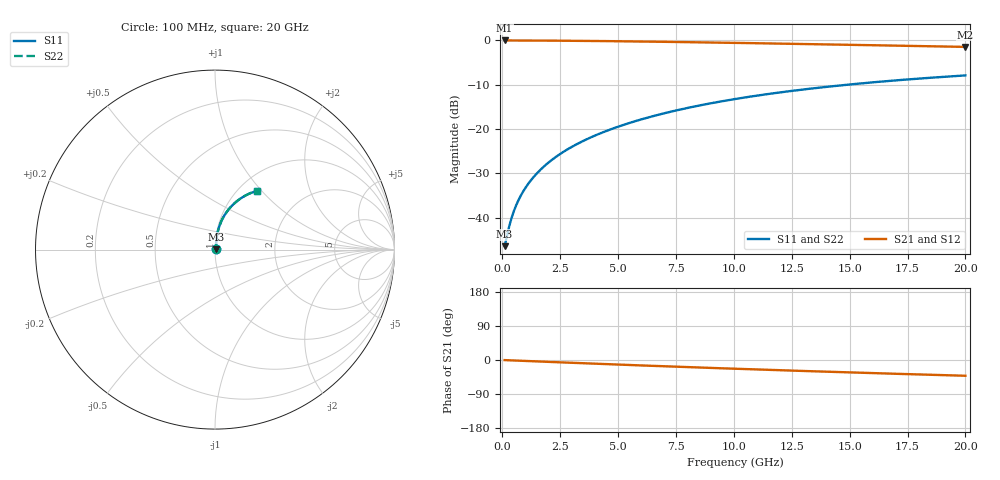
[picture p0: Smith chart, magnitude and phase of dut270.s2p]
! Touchstone file exported from HFSS 2024.1.0
!  File:  C:/UserFiles/LocalFiles/RDL_TSV_Batchsim/temp_RDL_top_270_1778689645.aedt
!  Generated:  12:29:53 AM May 14, 2026
!  Design:  RDL_top
!  Project:  temp_RDL_top_270_1778689645
!  Setup:  Setup1
!  Solution:  Sweep
! Variables:
!  dtsv = 10.80580581um
!  hbump = 3um
!  htsv = 57.62um
!  ldown = 100um
!  lrdl = 571.48um
!  p = 40
!  p1 = 48.34um
!  rhole = 1um
!  t = 450um
!  tdown = 3.915915916um
!  trdl = 2.57um
!  wdown = 15.38538539um
!  wrdl = 19.65um
# GHz S MA R 50.000000
! Terminal data exported
! Port[1] = Box2_T1
! Port[2] = Box2_T2
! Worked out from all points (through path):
!   200 points, 100 MHz to 20 GHz, reference 50 ohm
!   highest |S21| = -0.04 dB at 100 MHz (marker M1); lowest = -1.5 dB at 20 GHz (marker M2)
!   group delay of S21, straight-line fit = 5.75 ps
!   lowest |S11| = -46.4 dB at 100 MHz (marker M3), VSWR 1.01, Z = 50.4 + j0.229 ohm
!   |S11| at or under -10 dB: start of sweep to 14.92 GHz
!   |S22| runs from -46.4 to -7.9 dB; largest |S21 - S12| = 3.3e-15
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0.1  0.004801 28.2  0.9958 -0.3  0.9958 -0.3  0.004801 28.2
! Gamma 0 0 0 0
! Port Impedance 50 0 50 0
0.3  0.008055 56.1  0.9955 -0.8  0.9955 -0.8  0.008055 56.1
0.4  0.009973 62.1  0.9953 -1.0  0.9953 -1.0  0.009973 62.1
0.5  0.01193 66.1  0.995 -1.3  0.995 -1.3  0.01193 66.1
0.6  0.01389 68.9  0.9948 -1.5  0.9948 -1.5  0.01389 68.9
0.8  0.01783 72.7  0.9944 -2.0  0.9944 -2.0  0.01783 72.7
1  0.0218 75.3  0.994 -2.5  0.994 -2.5  0.0218 75.3
1.2  0.0258 77.0  0.9935 -3.0  0.9935 -3.0  0.0258 77.0
1.4  0.02983 78.3  0.993 -3.5  0.993 -3.5  0.02983 78.3
1.7  0.03593 79.7  0.9922 -4.2  0.9922 -4.2  0.03593 79.7
2.2  0.04623 81.0  0.9906 -5.4  0.9906 -5.4  0.04623 81.0
2.8  0.05879 81.7  0.9882 -6.9  0.9882 -6.9  0.05879 81.7
3.5  0.07369 81.8  0.9848 -8.6  0.9848 -8.6  0.07369 81.9
4.2  0.08882 81.6  0.9809 -10.2  0.9809 -10.2  0.08883 81.6
5  0.1064 80.9  0.9759 -12.1  0.9759 -12.1  0.1064 80.9
5.9  0.1263 79.8  0.9695 -14.1  0.9695 -14.1  0.1263 79.9
6.8  0.1464 78.5  0.9627 -16.1  0.9627 -16.1  0.1464 78.6
8.4  0.1819 75.9  0.9496 -19.6  0.9496 -19.6  0.182 75.9
10.1  0.219 72.8  0.9348 -23.2  0.9348 -23.2  0.2191 72.8
13.4  0.2872 66.5  0.9045 -29.7  0.9045 -29.7  0.2873 66.5
16.7  0.3484 60.3  0.8734 -35.8  0.8734 -35.8  0.3486 60.3
20  0.4021 54.5  0.8425 -41.6  0.8425 -41.6  0.4022 54.5
